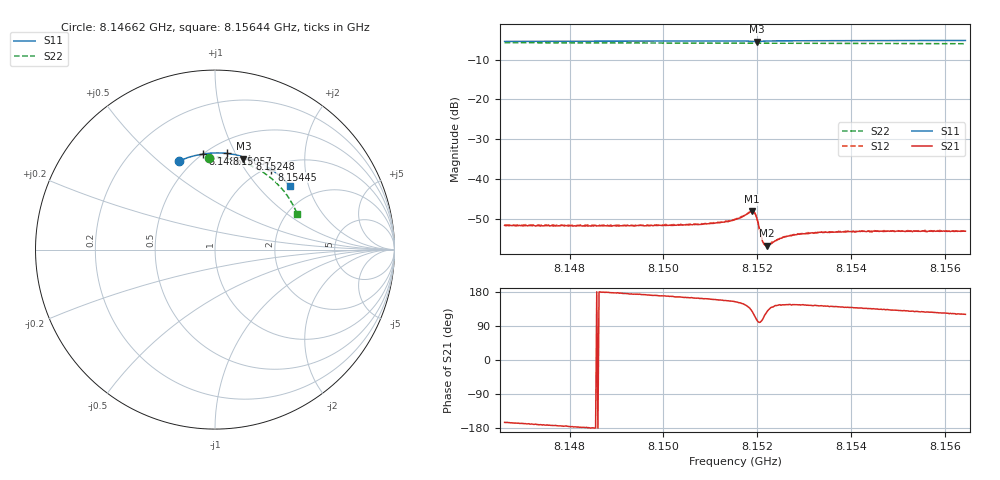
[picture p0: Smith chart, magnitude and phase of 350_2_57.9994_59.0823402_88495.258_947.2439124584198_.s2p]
#  HZ  S  RI  R  50.00
! Rohde & Schwarz Vector Network Analyzer
! Rohde-Schwarz,ZNB20-2Port,1311601062101988,3.16
! Created: UTC 3/21/2024, 1:05:58 AM
! freq[Hz]  re:S11  im:S11  re:S21  im:S21  re:S12  im:S12  re:S22  im:S22
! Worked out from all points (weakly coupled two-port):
!   401 points, 8.14662 GHz to 8.15644 GHz, reference 50 ohm
!   highest |S21| = -48.00 dB at 8.15189 GHz (marker M1); lowest = -56.6 dB at 8.15221 GHz (marker M2)
!   lowest |S11| = -5.5 dB at 8.15199 GHz (marker M3), VSWR 3.26, Z = 37.3 + j52.5 ohm
!   |S11| at or under -10 dB: nowhere
!   |S22| runs from -6.0 to -5.8 dB; largest |S21 - S12| = 0.00014
!   S11 on the Smith chart (normalised r, x): 8.14662 GHz: 0.42, +0.58; 8.1486 GHz: 0.50, +0.75; 8.15057 GHz: 0.61, +0.93; 8.15248 GHz: 0.78, +1.11; 8.15445 GHz: 1.05, +1.33; 8.15644 GHz: 1.50, +1.53
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8.146616e9  -0.2021 0.4932  -0.00256 -0.000701  -0.00261 -0.000656  -0.0355 0.5126
8.148261e9  -0.0927 0.5279  -0.00261 -9.33e-05  -0.00265 -6.75e-05  0.0718 0.5068
8.148605e9  -0.069 0.5322  -0.00262 -9e-06  -0.00264 8.42e-05  0.094 0.5029
8.149906e9  0.0213 0.5386  -0.00262 0.000486  -0.00261 0.000526  0.1745 0.4792
8.150568e9  0.0674 0.5357  -0.00262 0.00075  -0.00261 0.000803  0.2136 0.462
8.151158e9  0.1084 0.5298  -0.00268 0.00104  -0.00268 0.00108  0.2467 0.4442
8.151526e9  0.1345 0.5237  -0.0028 0.00138  -0.00282 0.00144  0.2667 0.4318
8.151845e9  0.1574 0.5126  -0.00281 0.0027  -0.00275 0.00276  0.2834 0.42
8.151894e9  0.1593 0.5094  -0.00244 0.00315  -0.00239 0.00324  0.2858 0.4181
8.151943e9  0.1595 0.5066  -0.00168 0.00342  -0.00165 0.00348  0.2883 0.4162
8.151992e9  0.1585 0.506  -0.000838 0.00313  -0.000787 0.00314  0.2906 0.4146
8.152066e9  0.1601 0.5093  -0.000373 0.00212  -0.000346 0.00211  0.2943 0.4119
8.152115e9  0.1635 0.5108  -0.000488 0.00158  -0.000458 0.00164  0.2968 0.4103
8.152164e9  0.1675 0.5115  -0.00074 0.00131  -0.000735 0.00131  0.2993 0.4083
8.152213e9  0.1716 0.5115  -0.000922 0.00116  -0.000905 0.00114  0.302 0.4064
8.152483e9  0.192 0.507  -0.00151 0.00102  -0.00148 0.00106  0.3153 0.3958
8.152802e9  0.2137 0.4993  -0.00168 0.00113  -0.0017 0.00113  0.3306 0.3824
8.153171e9  0.2376 0.4892  -0.00173 0.00127  -0.00171 0.00128  0.3474 0.3663
8.153784e9  0.2755 0.4699  -0.00167 0.00142  -0.00169 0.00148  0.3736 0.3381
8.154447e9  0.3145 0.4459  -0.00154 0.00156  -0.00159 0.0016  0.3994 0.3053
8.154815e9  0.3354 0.4312  -0.0015 0.00165  -0.00149 0.00168  0.4124 0.2862
8.156436e9  0.4171 0.3556  -0.00114 0.00193  -0.00111 0.00196  0.4586 0.1971
